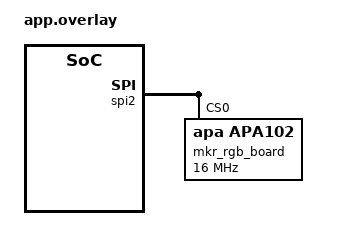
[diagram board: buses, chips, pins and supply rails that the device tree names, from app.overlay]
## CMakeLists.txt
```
# SPDX-License-Identifier: Apache-2.0

cmake_minimum_required(VERSION 3.20.0)

find_package(Zephyr REQUIRED HINTS $ENV{ZEPHYR_BASE})
project(esp32_mkr_rgb)

target_sources(app PRIVATE src/main.c)
```

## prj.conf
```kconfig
#GPIO specific configurations
CONFIG_GPIO=y #Enables the use of GPIO pins

#Sensor specific configurations
CONFIG_SPI=y
CONFIG_APA102_STRIP=y
CONFIG_LED_STRIP=y
CONFIG_ESP32_SPIM=y
```

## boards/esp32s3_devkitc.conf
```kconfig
CONFIG_ESP32_SPIM=y
```

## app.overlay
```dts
#include <zephyr/dt-bindings/led/led.h>

/ {
    chosen {
        zephyr,console = &uart0;
    };
};

/* Attach MKR RGB Shield as a child of SPI2 */
&spi2 {
    status = "okay";
    pinctrl-0 = <&spim2_default>;
    pinctrl-names = "default";

    mkr_rgb_board: apa102@0 {
        compatible = "apa,apa102";
        spi-max-frequency = <16000000>;
        chain-length = <84>;
        reg = <0>;
        color-mapping = <LED_COLOR_ID_BLUE LED_COLOR_ID_GREEN LED_COLOR_ID_RED>;
        status = "okay";
    };
};
```

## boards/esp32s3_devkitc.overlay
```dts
#include <zephyr/dt-bindings/led/led.h>

/ {
    chosen {
        zephyr,console = &uart0;
    };
};

/* Attach MKR RGB Shield as a child of SPI2 */
&spi2 {
    status = "okay";
    pinctrl-0 = <&spim2_default>;
    pinctrl-names = "default";

    mkr_rgb_board: apa102@0 {
        compatible = "apa,apa102";
        spi-max-frequency = <8000000>;
        chain-length = <84>;
        color-mapping = <LED_COLOR_ID_RED LED_COLOR_ID_GREEN LED_COLOR_ID_BLUE>;
        status = "okay";
    };
};
```

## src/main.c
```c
#include <zephyr/kernel.h>
#include <zephyr/usb/usb_device.h>
#include <zephyr/drivers/uart.h>
#include <zephyr/device.h>
#include <zephyr/drivers/led_strip.h>
#include <zephyr/drivers/spi.h>
#include <zephyr/sys/util.h>

#define ROWS 7
#define COLS 12
#define STRIP_NUM_PIXELS (ROWS * COLS)

#define DELAY_TIME K_MSEC(75)

#define SAMPLE_LED_BRIGHTNESS 16

#define RGB(_r, _g, _b) { .r = (_r), .g = (_g), .b = (_b) }

static const struct led_rgb colors[] = {
    //RGB(SAMPLE_LED_BRIGHTNESS, 0x00, 0x00), /* red */
    RGB(0x00, SAMPLE_LED_BRIGHTNESS, 0x00), /* green */
    //RGB(0x00, 0x00, SAMPLE_LED_BRIGHTNESS), /* blue */
    //RGB(SAMPLE_LED_BRIGHTNESS, SAMPLE_LED_BRIGHTNESS, 0x00), /* yellow */
    //RGB(0x00, SAMPLE_LED_BRIGHTNESS, SAMPLE_LED_BRIGHTNESS), /* cyan */
    RGB(SAMPLE_LED_BRIGHTNESS, 0x00, SAMPLE_LED_BRIGHTNESS), /* magenta */
    RGB(SAMPLE_LED_BRIGHTNESS, SAMPLE_LED_BRIGHTNESS, SAMPLE_LED_BRIGHTNESS) /* white */
};
struct led_rgb off = {0x00, 0x00, 0x00};


static struct led_rgb pixels[STRIP_NUM_PIXELS];

static const struct device *const strip = DEVICE_DT_GET(DT_NODELABEL(mkr_rgb_board));

static void set_column(size_t col, struct led_rgb color)
{
    for (size_t row = 0; row < ROWS; row++) {
        size_t idx = row * COLS + col;
        pixels[idx] = color;
    }
}

int main(void)
{
    size_t color_idx = 0;
    int rc;

    if (device_is_ready(strip)) {
        printk("Found LED strip device %s", strip->name);
    } else {
        printk("LED strip device %s is not ready", strip->name);
        return 0;
    }

    printk("Displaying pattern on strip");
//    while (1) {
//        for (size_t cursor = 0; cursor < ARRAY_SIZE(pixels); cursor++) {
//            memset(&pixels, 0x00, sizeof(pixels));
//            memcpy(&pixels[cursor], &colors[color], sizeof(struct led_rgb));
//
//            rc = led_strip_update_rgb(strip, pixels, STRIP_NUM_PIXELS);
//            if (rc) {
//                printk("couldn't update strip: %d", rc);
//            }
//
//            k_sleep(DELAY_TIME);
//        }
//
//        color = (color + 1) % ARRAY_SIZE(colors);
//    }

while (1) {
        struct led_rgb color = colors[color_idx];

        // Fill columns one by one
        for (size_t col = 0; col < COLS; col++) {
            set_column(col, color);

            rc = led_strip_update_rgb(strip, pixels, STRIP_NUM_PIXELS);
            if (rc) {
                printk("couldn't update strip: %d\n", rc);
            }

            k_sleep(DELAY_TIME);
        }

        // Empty columns one by one
        for (size_t col = 0; col < COLS; col++) {
            set_column(col, off);  // turn off

            rc = led_strip_update_rgb(strip, pixels, STRIP_NUM_PIXELS);
            if (rc) {
                printk("couldn't update strip: %d\n", rc);
            }

            k_sleep(DELAY_TIME);
        }

        // Move to next color
        color_idx = (color_idx + 1) % ARRAY_SIZE(colors);
    }
  

    return 0;
}
```
